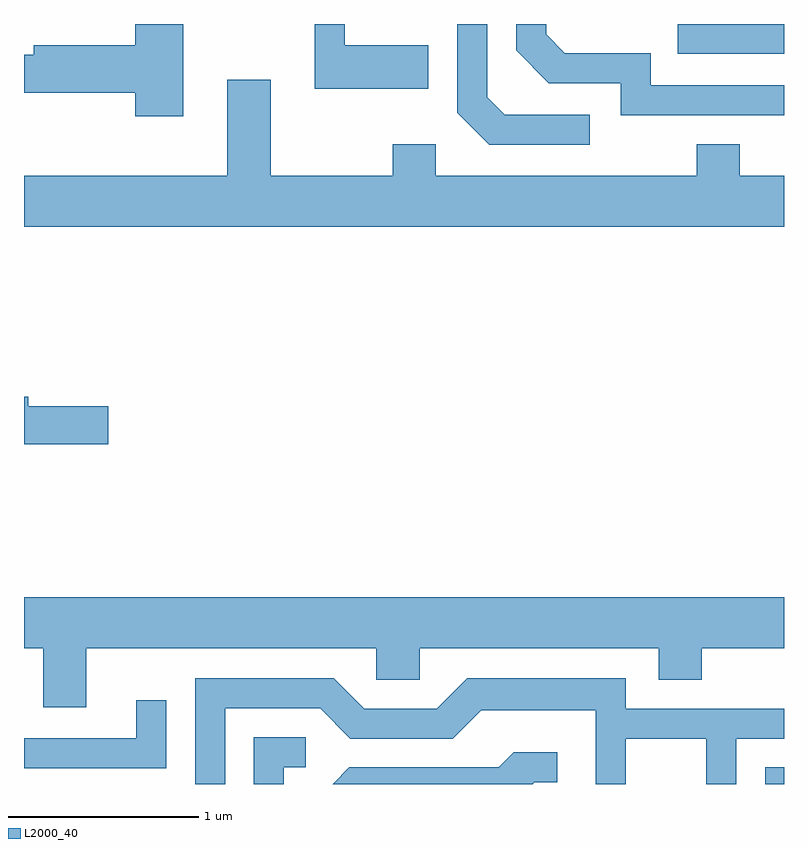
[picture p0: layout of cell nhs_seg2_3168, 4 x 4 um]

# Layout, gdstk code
import gdstk
lib = gdstk.Library(unit=1e-6, precision=1e-09)
def R(c, l, rs):  # rectangles x0, y0, x1, y1
    for r in rs: c.add(gdstk.rectangle(r[:2], r[2:], *l))
def P(c, l, *ps):  # polygons
    for p in ps: c.add(gdstk.Polygon(p, *l))
L2000_40 = (2000, 40)

nhs_seg2_3168 = lib.new_cell('nhs_seg2_3168')
R(nhs_seg2_3168, L2000_40, [(281.511,1069.802,281.611,1069.889), (281.053,1073.646,281.611,1073.802)])
P(nhs_seg2_3168, L2000_40, [(278.449,1073.802),(278.196,1073.802),(278.196,1073.689),(277.661,1073.689),(277.661,1073.639),(277.611,1073.639),(277.611,1073.441),(278.196,1073.441),(278.196,1073.316),(278.449,1073.316)],
  [(281.611,1073.479),(280.909,1073.479),(280.909,1073.649),(280.457,1073.649),(280.359,1073.747),(280.359,1073.802),(280.201,1073.802),(280.201,1073.664),(280.374,1073.491),(280.751,1073.491),(280.751,1073.321),(281.611,1073.321)],
  [(279.739,1073.689),(279.299,1073.689),(279.299,1073.802),(279.141,1073.802),(279.141,1073.461),(279.739,1073.461)],
  [(280.588,1073.324),(280.142,1073.324),(280.049,1073.417),(280.049,1073.802),(279.891,1073.802),(279.891,1073.334),(280.059,1073.166),(280.588,1073.166)],
  [(281.611,1073.004),(281.379,1073.004),(281.379,1073.169),(281.151,1073.169),(281.151,1073.004),(279.779,1073.004),(279.779,1073.169),(279.551,1073.169),(279.551,1073.004),(278.909,1073.004),(278.909,1073.509),(278.681,1073.509),(278.681,1073.004),(277.611,1073.004),(277.611,1072.736),(281.611,1072.736)],
  [(278.054,1071.789),(277.634,1071.789),(277.634,1071.839),(277.611,1071.839),(277.611,1071.591),(278.054,1071.591)],
  [(277.939,1070.516),(279.466,1070.516),(279.466,1070.351),(279.694,1070.351),(279.694,1070.516),(280.951,1070.516),(280.951,1070.351),(281.179,1070.351),(281.179,1070.516),(281.611,1070.516),(281.611,1070.784),(277.611,1070.784),(277.611,1070.516),(277.711,1070.516),(277.711,1070.206),(277.939,1070.206)],
  [(278.669,1070.201),(279.169,1070.201),(279.329,1070.041),(279.867,1070.041),(280.017,1070.191),(280.621,1070.191),(280.621,1069.802),(280.779,1069.802),(280.779,1070.041),(281.201,1070.041),(281.201,1069.802),(281.359,1069.802),(281.359,1070.041),(281.611,1070.041),(281.611,1070.199),(280.779,1070.199),(280.779,1070.359),(279.944,1070.359),(279.784,1070.199),(279.402,1070.199),(279.242,1070.359),(278.511,1070.359),(278.511,1069.802),(278.669,1069.802)],
  [(278.359,1070.243),(278.201,1070.243),(278.201,1070.044),(277.611,1070.044),(277.611,1069.886),(278.359,1069.886)],
  [(278.979,1069.891),(279.093,1069.891),(279.093,1070.049),(278.821,1070.049),(278.821,1069.802),(278.979,1069.802)],
  [(280.297,1069.811),(280.418,1069.811),(280.418,1069.969),(280.189,1069.969),(280.109,1069.889),(279.324,1069.889),(279.237,1069.802),(280.288,1069.802)])

lib.write_gds('nhs_seg2_3168.gds')
